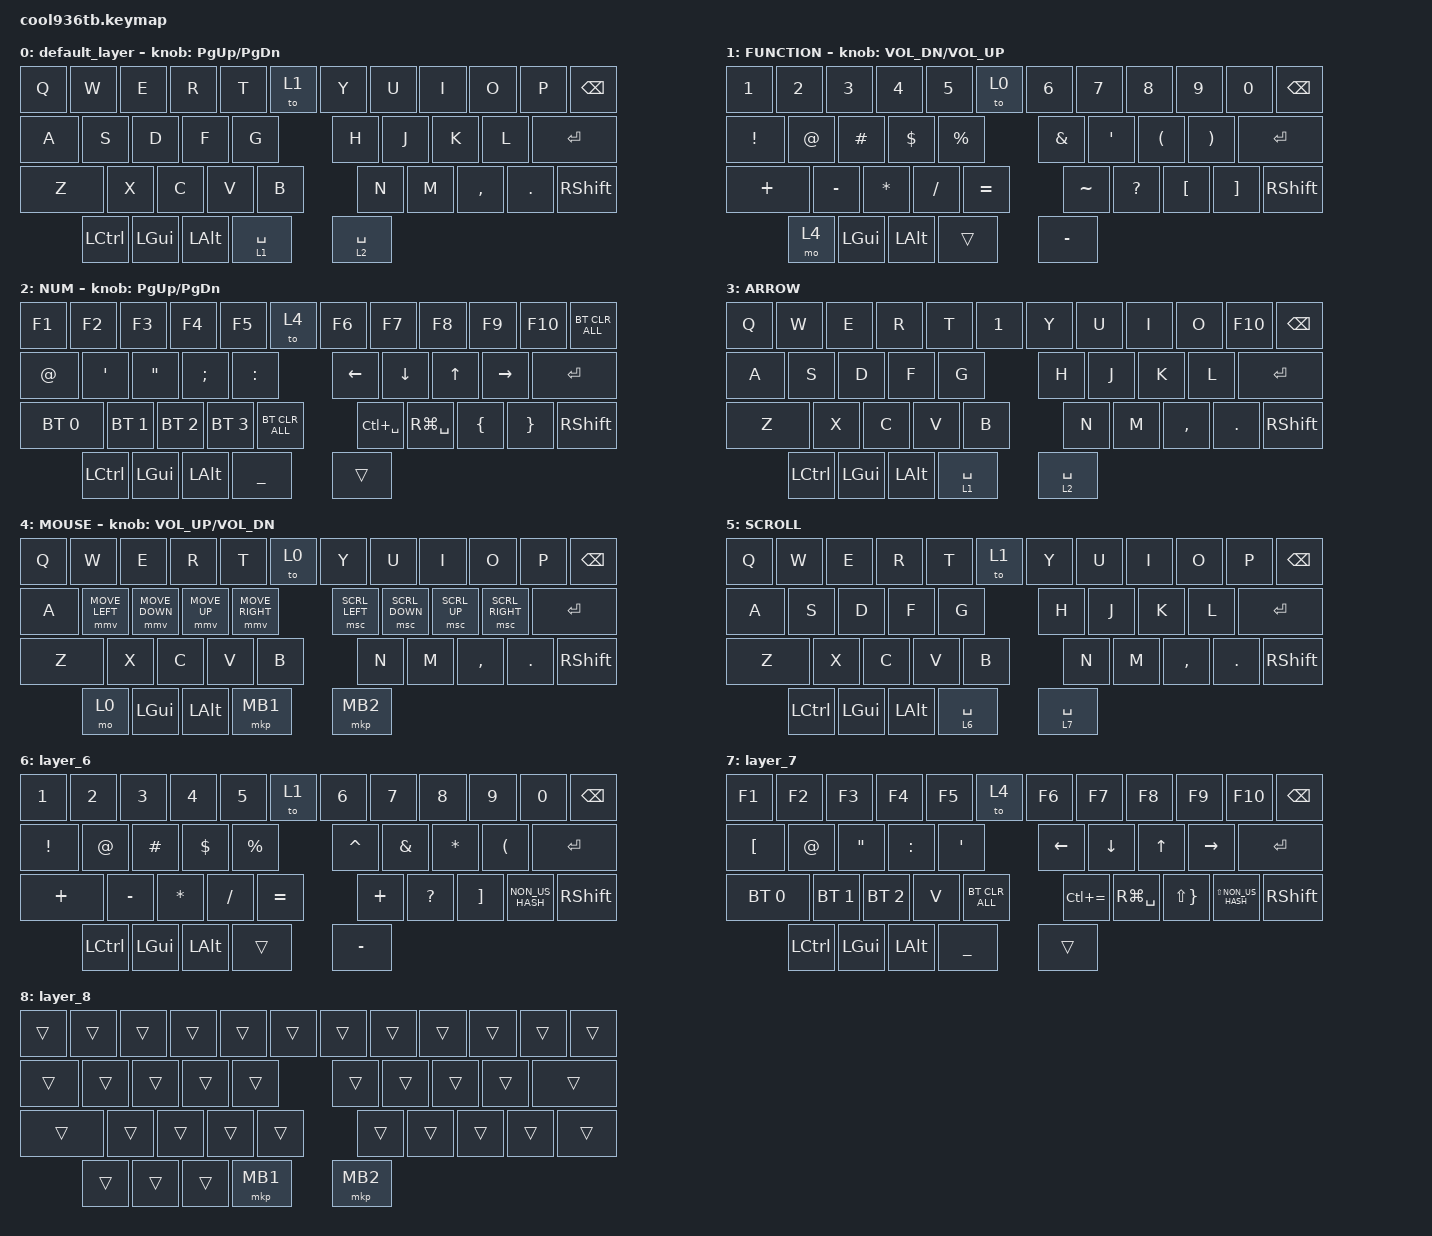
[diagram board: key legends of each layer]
#include <behaviors.dtsi>
#include <dt-bindings/zmk/bt.h>
#include <dt-bindings/zmk/keys.h>
#include <dt-bindings/zmk/pointing.h>

#define MOUSE 4
#define SCROLL 5
#define NUM 6

&mt {
    flavor = "balanced";
    quick-tap-ms = <0>;
};

/ {
    combos {
        compatible = "zmk,combos";

        ms_scrl {
            bindings = <&mo 1>;
            key-positions = <29 30>;
            layers = <0>;
        };

        shift_tab {
            bindings = <&kp LS(ESC)>;
            key-positions = <0 1>;
        };

        Tab {
            bindings = <&kp TAB>;
            key-positions = <12 13>;
        };

        CapsLock {
            bindings = <&kp CAPS>;
            key-positions = <22 23>;
        };

        eq {
            bindings = <&to 5>;
            key-positions = <10 11>;
            layers = <1>;
        };

        normsl {
            bindings = <&to 0>;
            key-positions = <10 11>;
            layers = <6>;
        };

        scrl {
            bindings = <&mo 1>;
            key-positions = <29 30>;
            layers = <6>;
        };
    };

    macros {
        to_layer_0: to_layer_0 {
            compatible = "zmk,behavior-macro-one-param";
            #binding-cells = <1>;
            bindings = <&to 0 &macro_param_1to1 &kp MACRO_PLACEHOLDER>;
            label = "TO_LAYER_0";
        };
    };

    behaviors {
        lt_to_layer_0: lt_to_layer_0 {
            compatible = "zmk,behavior-hold-tap";
            label = "LAYER_TAP_TO_0";
            bindings = <&mo>, <&to_layer_0>;

            #binding-cells = <2>;
            tapping-term-ms = <200>;
        };
    };

    keymap {
        compatible = "zmk,keymap";

        default_layer {
            bindings = <
&kp Q      &kp W     &kp E     &kp R        &kp T        &to 1  &kp Y  &kp U      &kp I       &kp O       &kp P  &kp BSPC
&kp A      &kp S     &kp D     &kp F        &kp G        &kp H  &kp J  &kp K      &kp L       &kp ENTER
&kp Z      &kp X     &kp C     &kp V        &kp B        &kp N  &kp M  &kp COMMA  &kp PERIOD  &kp RSHIFT
&kp LCTRL  &kp LGUI  &kp LALT  &lt 1 SPACE  &lt 2 SPACE
            >;

            sensor-bindings = <&inc_dec_kp PG_UP PAGE_DOWN>;
        };

        FUNCTION {
            bindings = <
&kp N1           &kp N2        &kp N3        &kp N4      &kp N5       &to 0          &kp N6        &kp N7                &kp N8                 &kp N9      &kp N0  &kp BACKSPACE
&kp EXCLAMATION  &kp AT_SIGN   &kp HASH      &kp DOLLAR  &kp PERCENT  &kp AMPERSAND  &kp SQT       &kp LEFT_PARENTHESIS  &kp RIGHT_PARENTHESIS  &kp ENTER
&kp PLUS         &kp MINUS     &kp ASTERISK  &kp SLASH   &kp EQUAL    &kp TILDE      &kp QUESTION  &kp LEFT_BRACKET      &kp RIGHT_BRACKET      &kp RSHIFT
&mo 4            &kp LEFT_GUI  &kp LALT      &trans      &kp MINUS
            >;

            sensor-bindings = <&inc_dec_kp C_VOL_DN C_VOLUME_UP>;
        };

        NUM {
            bindings = <
&kp F1        &kp F2        &kp F3             &kp F4          &kp F5          &to 4          &kp F6          &kp F7          &kp F8           &kp F9      &kp F10  &bt BT_CLR_ALL
&kp AT_SIGN   &kp SQT       &kp DOUBLE_QUOTES  &kp SEMICOLON   &kp COLON       &kp LEFT       &kp DOWN_ARROW  &kp UP_ARROW    &kp RIGHT        &kp ENTER
&bt BT_SEL 0  &bt BT_SEL 1  &bt BT_SEL 2       &bt BT_SEL 3    &bt BT_CLR_ALL  &kp LC(SPACE)  &kp RG(SPACE)   &kp LEFT_BRACE  &kp RIGHT_BRACE  &kp RSHIFT
&kp LCTRL     &kp LGUI      &kp LALT           &kp UNDERSCORE  &trans
            >;

            sensor-bindings = <&inc_dec_kp PG_UP PAGE_DOWN>;
        };

        ARROW {
            bindings = <
&kp Q      &kp W     &kp E     &kp R        &kp T        &kp N1  &kp Y  &kp U      &kp I       &kp O       &kp F10  &kp BSPC
&kp A      &kp S     &kp D     &kp F        &kp G        &kp H   &kp J  &kp K      &kp L       &kp ENTER
&kp Z      &kp X     &kp C     &kp V        &kp B        &kp N   &kp M  &kp COMMA  &kp PERIOD  &kp RSHIFT
&kp LCTRL  &kp LGUI  &kp LALT  &lt 1 SPACE  &lt 2 SPACE
            >;
        };

        MOUSE {
            bindings = <
&kp Q  &kp W           &kp E           &kp R         &kp T            &to 0           &kp Y           &kp U         &kp I            &kp O            &kp P  &kp BSPC
&kp A  &mmv MOVE_LEFT  &mmv MOVE_DOWN  &mmv MOVE_UP  &mmv MOVE_RIGHT  &msc SCRL_LEFT  &msc SCRL_DOWN  &msc SCRL_UP  &msc SCRL_RIGHT  &kp ENTER
&kp Z  &kp X           &kp C           &kp V         &kp B            &kp N           &kp M           &kp COMMA     &kp PERIOD       &kp RIGHT_SHIFT
&mo 0  &kp LEFT_GUI    &kp LEFT_ALT    &mkp MB1      &mkp MB2
            >;

            sensor-bindings = <&inc_dec_kp C_VOLUME_UP C_VOL_DN>;
        };

        SCROLL {
            bindings = <
&kp Q      &kp W     &kp E     &kp R        &kp T        &to 1  &kp Y  &kp U      &kp I       &kp O       &kp P  &kp BSPC
&kp A      &kp S     &kp D     &kp F        &kp G        &kp H  &kp J  &kp K      &kp L       &kp ENTER
&kp Z      &kp X     &kp C     &kp V        &kp B        &kp N  &kp M  &kp COMMA  &kp PERIOD  &kp RSHIFT
&kp LCTRL  &kp LGUI  &kp LALT  &lt 6 SPACE  &lt 7 SPACE
            >;
        };

        layer_6 {
            bindings = <
&kp N1           &kp N2        &kp N3        &kp N4      &kp N5       &to 1      &kp N6         &kp N7        &kp N8                &kp N9      &kp N0  &kp BACKSPACE
&kp EXCLAMATION  &kp AT_SIGN   &kp HASH      &kp DOLLAR  &kp PERCENT  &kp CARET  &kp AMPERSAND  &kp ASTERISK  &kp LEFT_PARENTHESIS  &kp ENTER
&kp PLUS         &kp MINUS     &kp ASTERISK  &kp SLASH   &kp EQUAL    &kp PLUS   &kp QUESTION   &kp RBKT      &kp NON_US_HASH       &kp RSHIFT
&kp LCTRL        &kp LEFT_GUI  &kp LALT      &trans      &kp MINUS
            >;
        };

        layer_7 {
            bindings = <
&kp F1            &kp F2        &kp F3             &kp F4          &kp F5          &to 4          &kp F6          &kp F7               &kp F8               &kp F9      &kp F10  &kp BSPC
&kp LEFT_BRACKET  &kp AT_SIGN   &kp DOUBLE_QUOTES  &kp COLON       &kp SQT         &kp LEFT       &kp DOWN_ARROW  &kp UP_ARROW         &kp RIGHT            &kp ENTER
&bt BT_SEL 0      &bt BT_SEL 1  &bt BT_SEL 2       &kp V           &bt BT_CLR_ALL  &kp LC(EQUAL)  &kp RG(SPACE)   &kp LS(RIGHT_BRACE)  &kp LS(NON_US_HASH)  &kp RSHIFT
&kp LCTRL         &kp LGUI      &kp LALT           &kp UNDERSCORE  &trans
            >;
        };

        layer_8 {
            bindings = <
&trans  &trans  &trans  &trans    &trans    &trans  &trans  &trans  &trans  &trans  &trans  &trans
&trans  &trans  &trans  &trans    &trans    &trans  &trans  &trans  &trans  &trans
&trans  &trans  &trans  &trans    &trans    &trans  &trans  &trans  &trans  &trans
&trans  &trans  &trans  &mkp MB1  &mkp MB2
            >;
        };
    };
};
